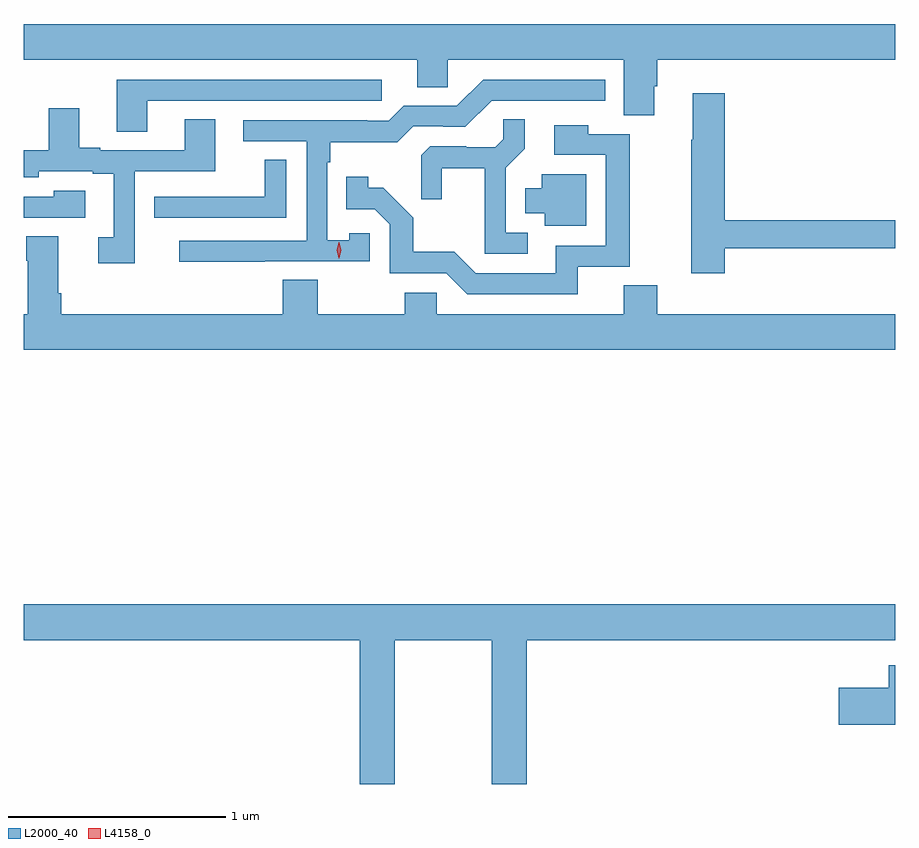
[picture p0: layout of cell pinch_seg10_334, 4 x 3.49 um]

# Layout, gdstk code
import gdstk
lib = gdstk.Library(unit=1e-6, precision=1e-09)
def P(c, l, *ps):  # polygons
    for p in ps: c.add(gdstk.Polygon(p, *l))
L2000_40 = (2000, 40)
L4158_0 = (4158, 0)

pinch_seg10_334 = lib.new_cell('pinch_seg10_334')
P(pinch_seg10_334, L2000_40, [(412.261,1260.234),(412.274,1260.234),(412.274,1260.356),(413.366,1260.356),(413.366,1260.52),(409.366,1260.52),(409.366,1260.356),(411.173,1260.356),(411.173,1260.229),(411.312,1260.229),(411.312,1260.356),(412.121,1260.356),(412.121,1260.1),(412.261,1260.1)],
  [(410.471,1259.43),(410.955,1259.43),(410.955,1259.559),(410.859,1259.559),(410.859,1259.527),(410.76,1259.527),(410.76,1259.885),(410.773,1259.885),(410.773,1259.978),(411.08,1259.978),(411.153,1260.051),(411.292,1260.051),(411.292,1260.048),(411.393,1260.048),(411.513,1260.168),(412.036,1260.168),(412.036,1260.264),(411.474,1260.264),(411.354,1260.144),(411.111,1260.144),(411.042,1260.075),(410.942,1260.075),(410.942,1260.078),(410.373,1260.078),(410.373,1259.982),(410.664,1259.982),(410.664,1259.526),(410.079,1259.526),(410.079,1259.428),(410.471,1259.428)],
  [(409.933,1260.168),(411.01,1260.168),(411.01,1260.264),(409.793,1260.264),(409.793,1260.025),(409.933,1260.025)],
  [(412.583,1259.49),(413.366,1259.49),(413.366,1259.618),(412.583,1259.618),(412.583,1260.202),(412.436,1260.202),(412.436,1259.989),(412.429,1259.989),(412.429,1259.376),(412.583,1259.376)],
  [(409.875,1259.844),(410.245,1259.844),(410.245,1260.083),(410.105,1260.083),(410.105,1259.94),(409.717,1259.94),(409.717,1259.953),(409.621,1259.953),(409.621,1260.133),(409.481,1260.133),(409.481,1259.94),(409.366,1259.94),(409.366,1259.817),(409.434,1259.817),(409.434,1259.844),(409.682,1259.844),(409.682,1259.832),(409.778,1259.832),(409.778,1259.541),(409.707,1259.541),(409.707,1259.421),(409.875,1259.421)],
  [(411.679,1259.562),(411.579,1259.562),(411.579,1259.861),(411.665,1259.947),(411.665,1260.083),(411.567,1260.083),(411.567,1259.992),(411.53,1259.955),(411.396,1259.955),(411.396,1259.958),(411.231,1259.958),(411.19,1259.917),(411.19,1259.715),(411.284,1259.715),(411.284,1259.858),(411.482,1259.858),(411.482,1259.466),(411.679,1259.466)],
  [(411.908,1259.406),(412.147,1259.406),(412.147,1260.015),(411.957,1260.015),(411.957,1260.055),(411.801,1260.055),(411.801,1259.919),(412.038,1259.919),(412.038,1259.502),(411.809,1259.502),(411.809,1259.376),(411.441,1259.376),(411.343,1259.475),(411.154,1259.475),(411.154,1259.63),(411.016,1259.768),(410.946,1259.768),(410.946,1259.818),(410.845,1259.818),(410.845,1259.67),(410.976,1259.67),(411.045,1259.601),(411.045,1259.376),(411.306,1259.376),(411.402,1259.28),(411.908,1259.28)],
  [(410.571,1259.897),(410.473,1259.897),(410.473,1259.727),(410.077,1259.727),(410.077,1259.726),(409.965,1259.726),(409.965,1259.631),(410.571,1259.631)],
  [(411.949,1259.83),(411.743,1259.83),(411.743,1259.767),(411.668,1259.767),(411.668,1259.651),(411.758,1259.651),(411.758,1259.594),(411.949,1259.594)],
  [(409.648,1259.755),(409.503,1259.755),(409.503,1259.727),(409.366,1259.727),(409.366,1259.631),(409.648,1259.631)],
  [(413.366,1259.188),(412.274,1259.188),(412.274,1259.321),(412.121,1259.321),(412.121,1259.188),(411.261,1259.188),(411.261,1259.286),(411.115,1259.286),(411.115,1259.188),(410.715,1259.188),(410.715,1259.345),(410.555,1259.345),(410.555,1259.188),(409.538,1259.188),(409.538,1259.284),(409.525,1259.284),(409.525,1259.545),(409.378,1259.545),(409.378,1259.432),(409.385,1259.432),(409.385,1259.188),(409.366,1259.188),(409.366,1259.024),(413.366,1259.024)],
  [(411.069,1257.692),(411.514,1257.692),(411.514,1257.031),(411.674,1257.031),(411.674,1257.692),(413.366,1257.692),(413.366,1257.856),(409.366,1257.856),(409.366,1257.692),(410.909,1257.692),(410.909,1257.031),(411.069,1257.031)],
  [(413.366,1257.577),(413.336,1257.577),(413.336,1257.472),(413.106,1257.472),(413.106,1257.302),(413.366,1257.302)])
P(pinch_seg10_334, L4158_0, [(410.812,1259.445),(410.803,1259.481),(410.812,1259.517),(410.813,1259.517),(410.813,1259.517),(410.823,1259.481),(410.813,1259.445),(410.813,1259.445)])

lib.write_gds('pinch_seg10_334.gds')
